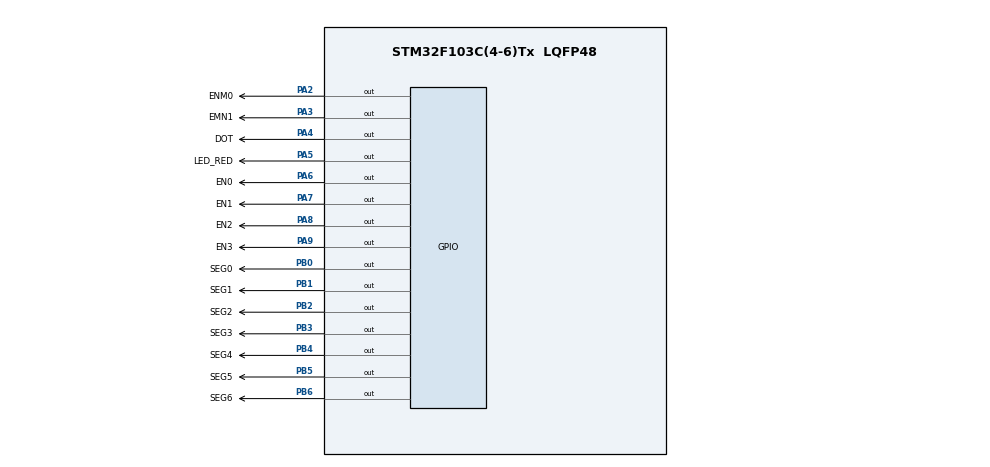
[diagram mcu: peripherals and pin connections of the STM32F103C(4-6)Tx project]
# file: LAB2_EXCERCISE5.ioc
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Mcu.Family=STM32F1
Mcu.Name=STM32F103C(4-6)Tx
Mcu.Package=LQFP48
NVIC.PriorityGroup=NVIC_PRIORITYGROUP_4
NVIC.TIM2_IRQn=true\:0\:0\:false\:false\:true\:true\:true
PA2.GPIO_Label=ENM0
PA2.Signal=GPIO_Output
PA3.GPIO_Label=EMN1
PA3.Signal=GPIO_Output
PA4.GPIO_Label=DOT
PA4.Signal=GPIO_Output
PA5.GPIO_Label=LED_RED
PA5.Signal=GPIO_Output
PA6.GPIO_Label=EN0
PA6.Signal=GPIO_Output
PA7.GPIO_Label=EN1
PA7.Signal=GPIO_Output
PA8.GPIO_Label=EN2
PA8.Signal=GPIO_Output
PA9.GPIO_Label=EN3
PA9.Signal=GPIO_Output
PB0.GPIO_Label=SEG0
PB0.Signal=GPIO_Output
PB1.GPIO_Label=SEG1
PB1.Signal=GPIO_Output
PB2.GPIO_Label=SEG2
PB2.Signal=GPIO_Output
PB3.GPIO_Label=SEG3
PB3.Signal=GPIO_Output
PB4.GPIO_Label=SEG4
PB4.Signal=GPIO_Output
PB5.GPIO_Label=SEG5
PB5.Signal=GPIO_Output
PB6.GPIO_Label=SEG6
PB6.Signal=GPIO_Output
ProjectManager.HeapSize=0x200
ProjectManager.StackSize=0x400
ProjectManager.TargetToolchain=STM32CubeIDE
RCC.APB1Freq_Value=8000000
RCC.APB2Freq_Value=8000000
TIM2.Period=9
TIM2.Prescaler=7999
VP_SYS_VS_ND.Mode=No_Debug
VP_TIM2_VS_ClockSourceINT.Mode=Internal
board=custom

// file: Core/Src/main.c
/* USER CODE BEGIN Header */
/**
  ******************************************************************************
  * @file           : main.c
  * @brief          : Main program body
  ******************************************************************************
  * @attention
  *
  * <h2><center>&copy; Copyright (c) 2025 STMicroelectronics.
  * All rights reserved.</center></h2>
  *
  * This software component is licensed by ST under BSD 3-Clause license,
  * the "License"; You may not use this file except in compliance with the
  * License. You may obtain a copy of the License at:
  *                        opensource.org/licenses/BSD-3-Clause
  *
  ******************************************************************************
  */
/* USER CODE END Header */
#include "main.h"

TIM_HandleTypeDef htim2;

void SystemClock_Config(void);
static void MX_GPIO_Init(void);
static void MX_TIM2_Init(void);

/* USER CODE BEGIN 0 */
void display7SEG(int num){
	char led7segm[10]={0xC0, 0xF9, 0xA4, 0xB0, 0x99, 0x92, 0x82, 0xF8, 0x80, 0x90};
	for(int i=0;i<7;i++){
		HAL_GPIO_WritePin(GPIOB, SEG0_Pin<<i,(led7segm[num]>>i)&1);
	}
}

const int MAX_LED = 4;
int index_led = 0;
int led_buffer[4] = {1,2,3,4};
void update7SEG(int index){
	switch (index){
	case 0:
		display7SEG(led_buffer[0]);
		HAL_GPIO_WritePin(EN0_GPIO_Port, EN0_Pin, RESET);
		HAL_GPIO_WritePin(EN1_GPIO_Port, EN1_Pin, SET);
		HAL_GPIO_WritePin(EN2_GPIO_Port, EN2_Pin, SET);
		HAL_GPIO_WritePin(EN3_GPIO_Port, EN3_Pin, SET);
		break;
	case 1:
		display7SEG(led_buffer[1]);
		HAL_GPIO_WritePin(EN0_GPIO_Port, EN0_Pin, SET);
		HAL_GPIO_WritePin(EN1_GPIO_Port, EN1_Pin, RESET);
		HAL_GPIO_WritePin(EN2_GPIO_Port, EN2_Pin, SET);
		HAL_GPIO_WritePin(EN3_GPIO_Port, EN3_Pin, SET);
		break;
	case 2:
		display7SEG(led_buffer[2]);
		HAL_GPIO_WritePin(EN0_GPIO_Port, EN0_Pin, SET);
		HAL_GPIO_WritePin(EN1_GPIO_Port, EN1_Pin, SET);
		HAL_GPIO_WritePin(EN2_GPIO_Port, EN2_Pin, RESET);
		HAL_GPIO_WritePin(EN3_GPIO_Port, EN3_Pin, SET);
		break;
	case 3:
		display7SEG(led_buffer[3]);
		HAL_GPIO_WritePin(EN0_GPIO_Port, EN0_Pin, SET);
		HAL_GPIO_WritePin(EN1_GPIO_Port, EN1_Pin, SET);
		HAL_GPIO_WritePin(EN2_GPIO_Port, EN2_Pin, SET);
		HAL_GPIO_WritePin(EN3_GPIO_Port, EN3_Pin, RESET);
		break;
	default:
		HAL_GPIO_WritePin(EN0_GPIO_Port, EN0_Pin, SET);
		HAL_GPIO_WritePin(EN1_GPIO_Port, EN1_Pin, SET);
		HAL_GPIO_WritePin(EN2_GPIO_Port, EN2_Pin, SET);
		HAL_GPIO_WritePin(EN3_GPIO_Port, EN3_Pin, SET);
		break;
	}
}

void updateClockBuffer(int hour, int minute){
	led_buffer[0] = hour / 10;
	led_buffer[1] = hour % 10;
	led_buffer[2] = minute / 10;
	led_buffer[3] = minute % 10;
}
/* USER CODE END 0 */

int main(void)
{

  /* MCU Configuration--------------------------------------------------------*/

  /* Reset of all peripherals, Initializes the Flash interface and the Systick. */
  HAL_Init();

  /* Configure the system clock */
  SystemClock_Config();

  /* Initialize all configured peripherals */
  MX_GPIO_Init();
  MX_TIM2_Init();
  /* USER CODE BEGIN 2 */
  HAL_TIM_Base_Start_IT(&htim2);
  int hour = 15, minute = 8, second = 50;
  /* USER CODE END 2 */
  /*EX5*/
 	  	  second++;
 	 	  if (second >= 60) {
 	 		  second = 0;
 	 		  minute++;
 	 	  }
 	 	  if( minute >= 60) {
 	 		  minute = 0;
 	 		  hour++;
 	 	  }
 	 	  if( hour >=24){
 	 		  hour = 0;
 	 	  }
 	 	  updateClockBuffer(hour, minute);
 	 	  HAL_Delay(1000);
  /* Infinite loop */
  while (1)
  {
	  /*EX5*/
	 	  	  second++;
	 	 	  if (second >= 60) {
	 	 		  second = 0;
	 	 		  minute++;
	 	 	  }
	 	 	  if( minute >= 60) {
	 	 		  minute = 0;
	 	 		  hour++;
	 	 	  }
	 	 	  if( hour >=24){
	 	 		  hour = 0;
	 	 	  }
	 	 	  updateClockBuffer(hour, minute);
	 	 	  HAL_Delay(1000);
  }
}

void SystemClock_Config(void)
{
  RCC_OscInitTypeDef RCC_OscInitStruct = {0};
  RCC_ClkInitTypeDef RCC_ClkInitStruct = {0};

  /** Initializes the RCC Oscillators according to the specified parameters
  * in the RCC_OscInitTypeDef structure.
  */
  RCC_OscInitStruct.OscillatorType = RCC_OSCILLATORTYPE_HSI;
  RCC_OscInitStruct.HSIState = RCC_HSI_ON;
  RCC_OscInitStruct.HSICalibrationValue = RCC_HSICALIBRATION_DEFAULT;
  RCC_OscInitStruct.PLL.PLLState = RCC_PLL_NONE;
  if (HAL_RCC_OscConfig(&RCC_OscInitStruct) != HAL_OK)
  {
    Error_Handler();
  }
  /** Initializes the CPU, AHB and APB buses clocks
  */
  RCC_ClkInitStruct.ClockType = RCC_CLOCKTYPE_HCLK|RCC_CLOCKTYPE_SYSCLK
                              |RCC_CLOCKTYPE_PCLK1|RCC_CLOCKTYPE_PCLK2;
  RCC_ClkInitStruct.SYSCLKSource = RCC_SYSCLKSOURCE_HSI;
  RCC_ClkInitStruct.AHBCLKDivider = RCC_SYSCLK_DIV1;
  RCC_ClkInitStruct.APB1CLKDivider = RCC_HCLK_DIV1;
  RCC_ClkInitStruct.APB2CLKDivider = RCC_HCLK_DIV1;

  if (HAL_RCC_ClockConfig(&RCC_ClkInitStruct, FLASH_LATENCY_0) != HAL_OK)
  {
    Error_Handler();
  }
}

static void MX_TIM2_Init(void)
{

  TIM_ClockConfigTypeDef sClockSourceConfig = {0};
  TIM_MasterConfigTypeDef sMasterConfig = {0};

  htim2.Instance = TIM2;
  htim2.Init.Prescaler = 7999;
  htim2.Init.CounterMode = TIM_COUNTERMODE_UP;
  htim2.Init.Period = 9;
  htim2.Init.ClockDivision = TIM_CLOCKDIVISION_DIV1;
  htim2.Init.AutoReloadPreload = TIM_AUTORELOAD_PRELOAD_DISABLE;
  if (HAL_TIM_Base_Init(&htim2) != HAL_OK)
  {
    Error_Handler();
  }
  sClockSourceConfig.ClockSource = TIM_CLOCKSOURCE_INTERNAL;
  if (HAL_TIM_ConfigClockSource(&htim2, &sClockSourceConfig) != HAL_OK)
  {
    Error_Handler();
  }
  sMasterConfig.MasterOutputTrigger = TIM_TRGO_RESET;
  sMasterConfig.MasterSlaveMode = TIM_MASTERSLAVEMODE_DISABLE;
  if (HAL_TIMEx_MasterConfigSynchronization(&htim2, &sMasterConfig) != HAL_OK)
  {
    Error_Handler();
  }

}

static void MX_GPIO_Init(void)
{
  GPIO_InitTypeDef GPIO_InitStruct = {0};

  /* GPIO Ports Clock Enable */
  __HAL_RCC_GPIOA_CLK_ENABLE();
  __HAL_RCC_GPIOB_CLK_ENABLE();

  /*Configure GPIO pin Output Level */
  HAL_GPIO_WritePin(GPIOA, ENM0_Pin|EMN1_Pin|DOT_Pin|LED_RED_Pin
                          |EN0_Pin|EN1_Pin|EN2_Pin|EN3_Pin, GPIO_PIN_RESET);

  /*Configure GPIO pin Output Level */
  HAL_GPIO_WritePin(GPIOB, SEG0_Pin|SEG1_Pin|SEG2_Pin|SEG3_Pin
                          |SEG4_Pin|SEG5_Pin|SEG6_Pin, GPIO_PIN_RESET);

  /*Configure GPIO pins : ENM0_Pin EMN1_Pin DOT_Pin LED_RED_Pin
                           EN0_Pin EN1_Pin EN2_Pin EN3_Pin */
  GPIO_InitStruct.Pin = ENM0_Pin|EMN1_Pin|DOT_Pin|LED_RED_Pin
                          |EN0_Pin|EN1_Pin|EN2_Pin|EN3_Pin;
  GPIO_InitStruct.Mode = GPIO_MODE_OUTPUT_PP;
  GPIO_InitStruct.Pull = GPIO_NOPULL;
  GPIO_InitStruct.Speed = GPIO_SPEED_FREQ_LOW;
  HAL_GPIO_Init(GPIOA, &GPIO_InitStruct);

  /*Configure GPIO pins : SEG0_Pin SEG1_Pin SEG2_Pin SEG3_Pin
                           SEG4_Pin SEG5_Pin SEG6_Pin */
  GPIO_InitStruct.Pin = SEG0_Pin|SEG1_Pin|SEG2_Pin|SEG3_Pin
                          |SEG4_Pin|SEG5_Pin|SEG6_Pin;
  GPIO_InitStruct.Mode = GPIO_MODE_OUTPUT_PP;
  GPIO_InitStruct.Pull = GPIO_NOPULL;
  GPIO_InitStruct.Speed = GPIO_SPEED_FREQ_LOW;
  HAL_GPIO_Init(GPIOB, &GPIO_InitStruct);

}

/* USER CODE BEGIN 4 */
/*Ex4*/
int counter1 = 25;
int counter2 = 100;
void HAL_TIM_PeriodElapsedCallback(TIM_HandleTypeDef *htim){
	if(counter1 > 0){
		counter1 --;
		if(counter1 <= 0){
			counter1 = 25;
			update7SEG(index_led);
			index_led = (index_led + 1) % MAX_LED;
		}
	}
	if(counter2 > 0){
		counter2 --;
		if(counter2 <= 0){
			counter2 = 100;
			HAL_GPIO_TogglePin(DOT_GPIO_Port, DOT_Pin);
			HAL_GPIO_TogglePin(LED_RED_GPIO_Port, LED_RED_Pin);
		}
	}
}

/* USER CODE END 4 */

void Error_Handler(void)
{
  __disable_irq();
  while (1)
  {
  }
}

/************************ (C) COPYRIGHT STMicroelectronics *****END OF FILE****/
